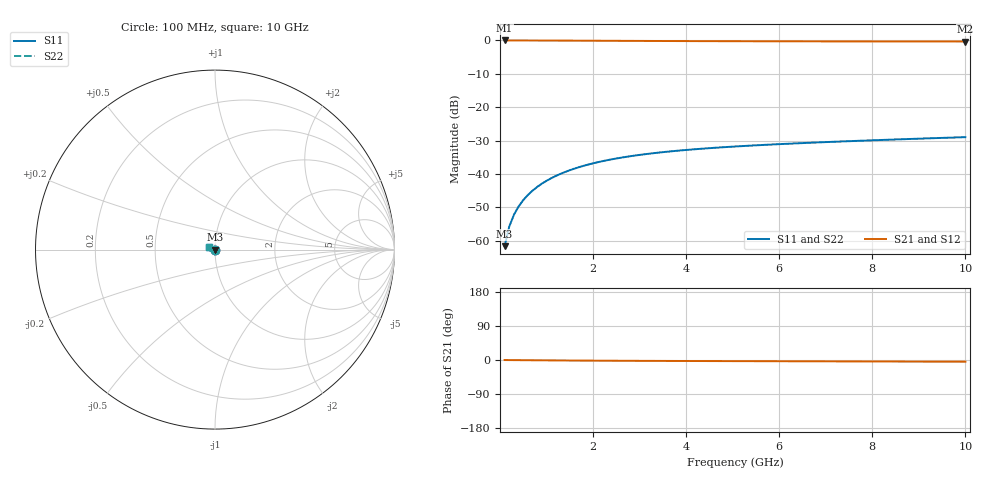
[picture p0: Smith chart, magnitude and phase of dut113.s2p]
! Touchstone file exported from HFSS 2024.1.0
!  File:  C:/UserFiles/LocalFiles/RDL_TSV_Batchsim/temp_TSV1_113_1779378081.aedt
!  Generated:  11:48:44 PM May 21, 2026
!  Design:  TSV1
!  Project:  temp_TSV1_113_1779378081
!  Setup:  Setup1
!  Solution:  Sweep
! Variables:
!  dtsv = 8.4um
!  hbump = 3um
!  htsv = 66.03um
!  lrdl = 252.1521522um
!  p = 40
!  p1 = 52.88um
!  t = 500um
!  trdl = 3um
!  wrdl = 24.89489489um
# GHz S MA R 50.000000
! Terminal data exported
! Port[1] = TSV22_T1
! Port[2] = TSV22_T2
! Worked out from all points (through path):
!   100 points, 100 MHz to 10 GHz, reference 50 ohm
!   highest |S21| = 0.00 dB at 100 MHz (marker M1); lowest = -0.3 dB at 10 GHz (marker M2)
!   lowest |S11| = -61.7 dB at 100 MHz (marker M3), VSWR 1.00, Z = 50 - j0.0811 ohm
!   |S11| at or under -10 dB: start of sweep to end of sweep
!   |S22| runs from -61.7 to -29.0 dB; largest |S21 - S12| = 6.4e-15
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0.1  0.0008255 -79.3  0.9998 -0.1  0.9998 -0.1  0.0008255 -79.3
! Gamma 0 0 0 0
! Port Impedance 50 0 50 0
0.2  0.001632 -87.5  0.9997 -0.2  0.9997 -0.2  0.001632 -87.5
0.3  0.00244 -91.7  0.9995 -0.3  0.9995 -0.3  0.00244 -91.7
0.4  0.003244 -94.9  0.9993 -0.4  0.9993 -0.4  0.003244 -94.9
0.5  0.004042 -97.6  0.999 -0.5  0.999 -0.5  0.004042 -97.6
0.6  0.004831 -100.1  0.9987 -0.6  0.9987 -0.6  0.004831 -100.1
0.7  0.00561 -102.4  0.9984 -0.7  0.9984 -0.7  0.00561 -102.4
0.8  0.006378 -104.6  0.9979 -0.8  0.9979 -0.8  0.006378 -104.6
0.9  0.007134 -106.8  0.9975 -0.9  0.9975 -0.9  0.007134 -106.8
1.1  0.008603 -111.0  0.9964 -1.0  0.9964 -1.0  0.008603 -111.0
1.4  0.01069 -116.9  0.9947 -1.3  0.9947 -1.3  0.01069 -116.9
1.6  0.012 -120.6  0.9934 -1.4  0.9934 -1.4  0.012 -120.6
1.8  0.01323 -124.3  0.992 -1.6  0.992 -1.6  0.01323 -124.3
2.1  0.01496 -129.4  0.9899 -1.8  0.9899 -1.8  0.01496 -129.4
2.5  0.01702 -135.8  0.9872 -2.0  0.9872 -2.0  0.01702 -135.8
2.9  0.01884 -141.7  0.9846 -2.2  0.9846 -2.2  0.01884 -141.7
3.4  0.02081 -148.5  0.9815 -2.4  0.9815 -2.4  0.02081 -148.5
4.2  0.02344 -158.0  0.9774 -2.7  0.9774 -2.7  0.02344 -158.0
5.1  0.02585 -167.1  0.9737 -3.0  0.9737 -3.0  0.02585 -167.1
6.7  0.02936 179.6  0.9691 -3.5  0.9691 -3.5  0.02936 179.6
8.4  0.03262 168.3  0.9659 -4.0  0.9659 -4.0  0.03262 168.3
10  0.03555 159.7  0.9638 -4.5  0.9638 -4.5  0.03555 159.7
